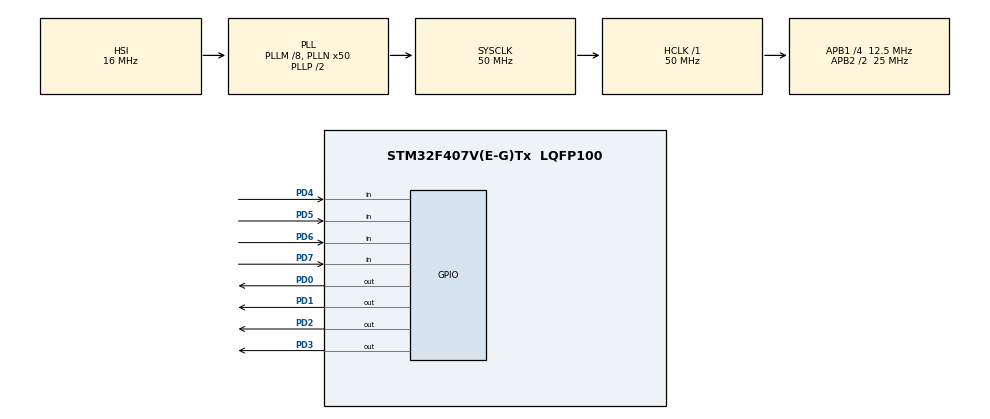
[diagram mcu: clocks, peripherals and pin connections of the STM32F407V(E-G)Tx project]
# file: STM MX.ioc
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Mcu.Family=STM32F4
Mcu.Name=STM32F407V(E-G)Tx
Mcu.Package=LQFP100
NVIC.PriorityGroup=NVIC_PRIORITYGROUP_0
PD0.GPIO_ModeDefaultOutputPP=GPIO_MODE_OUTPUT_OD
PD0.GPIO_PuPd=GPIO_NOPULL
PD0.Signal=GPIO_Output
PD1.GPIO_ModeDefaultOutputPP=GPIO_MODE_OUTPUT_OD
PD1.GPIO_PuPd=GPIO_NOPULL
PD1.Signal=GPIO_Output
PD2.GPIO_ModeDefaultOutputPP=GPIO_MODE_OUTPUT_OD
PD2.GPIO_PuPd=GPIO_NOPULL
PD2.Signal=GPIO_Output
PD3.GPIO_ModeDefaultOutputPP=GPIO_MODE_OUTPUT_OD
PD3.GPIO_PuPd=GPIO_NOPULL
PD3.Signal=GPIO_Output
PD4.Signal=GPIO_Input
PD5.Signal=GPIO_Input
PD6.Signal=GPIO_Input
PD7.Signal=GPIO_Input
ProjectManager.HeapSize=0x200
ProjectManager.StackSize=0x400
ProjectManager.TargetToolchain=EWARM V8.50
RCC.48MHZClocksFreq_Value=14285714.285714285
RCC.AHBFreq_Value=50000000
RCC.APB1CLKDivider=RCC_HCLK_DIV4
RCC.APB1Freq_Value=12500000
RCC.APB1TimFreq_Value=25000000
RCC.APB2CLKDivider=RCC_HCLK_DIV2
RCC.APB2Freq_Value=25000000
RCC.APB2TimFreq_Value=50000000
RCC.CortexFreq_Value=50000000
RCC.HCLKFreq_Value=50000000
RCC.HSE_VALUE=8000000
RCC.HSI_VALUE=16000000
RCC.LSE_VALUE=32768
RCC.PLLM=8
RCC.PLLN=50
RCC.PLLQ=7
RCC.SYSCLKFreq_VALUE=50000000
RCC.SYSCLKSource=RCC_SYSCLKSOURCE_PLLCLK
RCC.VCOOutputFreq_Value=100000000
TIM4.Prescaler=49
VP_TIM4_VS_ClockSourceINT.Mode=Internal
board=STM32F407G-DISC1

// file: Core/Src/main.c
/* USER CODE BEGIN Header */
/**
  ******************************************************************************
  * @file           : main.c
  * @brief          : Main program body
  ******************************************************************************
  * @attention
  *
  * Copyright (c) 2026 STMicroelectronics.
  * All rights reserved.
  *
  * This software is licensed under terms that can be found in the LICENSE file
  * in the root directory of this software component.
  * If no LICENSE file comes with this software, it is provided AS-IS.
  *
  ******************************************************************************
  */
/* USER CODE END Header */
#include "main.h"

/* USER CODE BEGIN PD */
#define FILAS 8
#define COLUMNAS 4
/* USER CODE END PD */

TIM_HandleTypeDef htim4;

/* USER CODE BEGIN PV */
int tablero[FILAS][COLUMNAS];
int jugador_actual;

uint8_t buzzer_encendido = 0;
uint16_t tiempo_apagado = 0;
uint8_t columna_llena = 0;
/* USER CODE END PV */

void SystemClock_Config(void);
static void MX_GPIO_Init(void);
static void MX_TIM4_Init(void);
/* USER CODE BEGIN PFP */
void inicializar_tablero(void);
void cambiar_jugador(void);
int verificar_victoria(void);
void sonar_buzzer(uint16_t duracion_ticks);
void notificar_sonido_juego(int resultado);
/* USER CODE END PFP */

int main(void)
{

  /* USER CODE BEGIN 1 */
	int estado_juego = 0;
  /* USER CODE END 1 */

  /* MCU Configuration--------------------------------------------------------*/

  /* Reset of all peripherals, Initializes the Flash interface and the Systick. */
  HAL_Init();

  /* Configure the system clock */
  SystemClock_Config();

  /* Initialize all configured peripherals */
  MX_GPIO_Init();
  MX_TIM4_Init();
  /* USER CODE BEGIN 2 */
  inicializar_tablero();
  /* USER CODE END 2 */

  /* Infinite loop */
  /* USER CODE BEGIN WHILE */
  while (1)
  {
	  if (buzzer_encendido == 1) {
	            if (__HAL_TIM_GET_COUNTER(&htim4) >= tiempo_apagado) {
	                HAL_GPIO_WritePin(GPIOD, GPIO_PIN_0, GPIO_PIN_RESET);
	                buzzer_encendido = 0;
	            }
	        }
	  if (columna_llena) {
	            notificar_sonido_juego(-1); // Sonido corto de error
	            columna_llena = 0;
	            continue;
	        }
	  estado_juego = verificar_victoria();

	        if (estado_juego != 0) // Alguien ganó (1 o 2)
	        {
	            notificar_sonido_juego(estado_juego); // Sonido

	            // ANIMACIÓN DE VICTORIA ACÁ (Leds, etc.)

	            inicializar_tablero(); // Resetea la matriz y pone jugador en 1
	            estado_juego = 0;
	            continue;              // Reinicia el while(1) sin cambiar de jugador
	        }
    /* USER CODE END WHILE */

  }
}

void SystemClock_Config(void)
{
  RCC_OscInitTypeDef RCC_OscInitStruct = {0};
  RCC_ClkInitTypeDef RCC_ClkInitStruct = {0};

  /** Configure the main internal regulator output voltage
  */
  __HAL_RCC_PWR_CLK_ENABLE();
  __HAL_PWR_VOLTAGESCALING_CONFIG(PWR_REGULATOR_VOLTAGE_SCALE1);

  /** Initializes the RCC Oscillators according to the specified parameters
  * in the RCC_OscInitTypeDef structure.
  */
  RCC_OscInitStruct.OscillatorType = RCC_OSCILLATORTYPE_HSI;
  RCC_OscInitStruct.HSIState = RCC_HSI_ON;
  RCC_OscInitStruct.HSICalibrationValue = RCC_HSICALIBRATION_DEFAULT;
  RCC_OscInitStruct.PLL.PLLState = RCC_PLL_ON;
  RCC_OscInitStruct.PLL.PLLSource = RCC_PLLSOURCE_HSI;
  RCC_OscInitStruct.PLL.PLLM = 8;
  RCC_OscInitStruct.PLL.PLLN = 50;
  RCC_OscInitStruct.PLL.PLLP = RCC_PLLP_DIV2;
  RCC_OscInitStruct.PLL.PLLQ = 7;
  if (HAL_RCC_OscConfig(&RCC_OscInitStruct) != HAL_OK)
  {
    Error_Handler();
  }

  /** Initializes the CPU, AHB and APB buses clocks
  */
  RCC_ClkInitStruct.ClockType = RCC_CLOCKTYPE_HCLK|RCC_CLOCKTYPE_SYSCLK
                              |RCC_CLOCKTYPE_PCLK1|RCC_CLOCKTYPE_PCLK2;
  RCC_ClkInitStruct.SYSCLKSource = RCC_SYSCLKSOURCE_PLLCLK;
  RCC_ClkInitStruct.AHBCLKDivider = RCC_SYSCLK_DIV1;
  RCC_ClkInitStruct.APB1CLKDivider = RCC_HCLK_DIV4;
  RCC_ClkInitStruct.APB2CLKDivider = RCC_HCLK_DIV2;

  if (HAL_RCC_ClockConfig(&RCC_ClkInitStruct, FLASH_LATENCY_1) != HAL_OK)
  {
    Error_Handler();
  }
}

static void MX_TIM4_Init(void)
{

  TIM_ClockConfigTypeDef sClockSourceConfig = {0};
  TIM_MasterConfigTypeDef sMasterConfig = {0};

  htim4.Instance = TIM4;
  htim4.Init.Prescaler = 49;
  htim4.Init.CounterMode = TIM_COUNTERMODE_UP;
  htim4.Init.Period = 65535;
  htim4.Init.ClockDivision = TIM_CLOCKDIVISION_DIV1;
  htim4.Init.AutoReloadPreload = TIM_AUTORELOAD_PRELOAD_DISABLE;
  if (HAL_TIM_Base_Init(&htim4) != HAL_OK)
  {
    Error_Handler();
  }
  sClockSourceConfig.ClockSource = TIM_CLOCKSOURCE_INTERNAL;
  if (HAL_TIM_ConfigClockSource(&htim4, &sClockSourceConfig) != HAL_OK)
  {
    Error_Handler();
  }
  sMasterConfig.MasterOutputTrigger = TIM_TRGO_RESET;
  sMasterConfig.MasterSlaveMode = TIM_MASTERSLAVEMODE_DISABLE;
  if (HAL_TIMEx_MasterConfigSynchronization(&htim4, &sMasterConfig) != HAL_OK)
  {
    Error_Handler();
  }

}

static void MX_GPIO_Init(void)
{
  GPIO_InitTypeDef GPIO_InitStruct = {0};

  /* GPIO Ports Clock Enable */
  __HAL_RCC_GPIOD_CLK_ENABLE();

  /*Configure GPIO pin Output Level */
  HAL_GPIO_WritePin(GPIOD, GPIO_PIN_0|GPIO_PIN_1|GPIO_PIN_2|GPIO_PIN_3, GPIO_PIN_RESET);

  /*Configure GPIO pins : PD0 PD1 PD2 PD3 */
  GPIO_InitStruct.Pin = GPIO_PIN_0|GPIO_PIN_1|GPIO_PIN_2|GPIO_PIN_3;
  GPIO_InitStruct.Mode = GPIO_MODE_OUTPUT_OD;
  GPIO_InitStruct.Pull = GPIO_NOPULL;
  GPIO_InitStruct.Speed = GPIO_SPEED_FREQ_LOW;
  HAL_GPIO_Init(GPIOD, &GPIO_InitStruct);

  /*Configure GPIO pins : PD4 PD5 PD6 PD7 */
  GPIO_InitStruct.Pin = GPIO_PIN_4|GPIO_PIN_5|GPIO_PIN_6|GPIO_PIN_7;
  GPIO_InitStruct.Mode = GPIO_MODE_INPUT;
  GPIO_InitStruct.Pull = GPIO_NOPULL;
  HAL_GPIO_Init(GPIOD, &GPIO_InitStruct);

}

/* USER CODE BEGIN 4 */
void inicializar_tablero(void) {

    for (int f = 0; f < FILAS; f++) {

        for (int c = 0; c < COLUMNAS; c++) {
            tablero[f][c] = 0;
        }
    }
    jugador_actual = 1;
}
void cambiar_jugador(void) {
    if (jugador_actual == 1) {
        jugador_actual = 2;
    } else {
        jugador_actual = 1;
    }
}
int verificar_victoria(void) {
    // --- HORIZONTAL ---
    for (int f = 0; f < FILAS; f++) {
        for (int c = 0; c < COLUMNAS - 2; c++) {
            if (tablero[f][c] != 0 && tablero[f][c] == tablero[f][c+1] && tablero[f][c] == tablero[f][c+2]) {
                return tablero[f][c];
            }
        }
    }
    // --- VERTICAL ---
    for (int c = 0; c < COLUMNAS; c++) {
        for (int f = 0; f < FILAS - 2; f++) {
            if (tablero[f][c] != 0 && tablero[f][c] == tablero[f+1][c] && tablero[f][c] == tablero[f+2][c]) {
                return tablero[f][c];
            }
        }
    }
    // --- DIAGONAL ABAJO ---
    for (int f = 0; f < FILAS - 2; f++) {
        for (int c = 0; c < COLUMNAS - 2; c++) {
            if (tablero[f][c] != 0 && tablero[f][c] == tablero[f+1][c+1] && tablero[f][c] == tablero[f+2][c+2]) {
                return tablero[f][c];
            }
        }
    }
    // --- DIAGONAL ARRIBA ---
    for (int f = 2; f < FILAS; f++) {
        for (int c = 0; c < COLUMNAS - 2; c++) {
            if (tablero[f][c] != 0 && tablero[f][c] == tablero[f-1][c+1] && tablero[f][c] == tablero[f-2][c+2]) {
                return tablero[f][c];
            }
        }
    }
    return 0;
    }
void sonar_buzzer(uint16_t duracion_ticks) {

    HAL_GPIO_WritePin(GPIOD, GPIO_PIN_0, GPIO_PIN_SET);          //enciendo el pin del buzzer

    buzzer_encendido = 1;

    tiempo_apagado = __HAL_TIM_GET_COUNTER(&htim4) + duracion_ticks;  //Leo el valor actual del timer y le sumo la duración que quiero
     }
void notificar_sonido_juego(int resultado) {

    switch (resultado) {

        case 1:
            sonar_buzzer(30000); //Ganó el jugador 1
            break;

        case 2:
            sonar_buzzer(15000); //Ganó el jugador 2
            break;

        case -1:
            sonar_buzzer(2000); //Sonido de error de columna llena
            break;

        case 0:
            sonar_buzzer(800); //Cambio de turno
            break;

        default:
            break;
    }
}
/* USER CODE END 4 */

void Error_Handler(void)
{
  __disable_irq();
  while (1)
  {
  }
}
